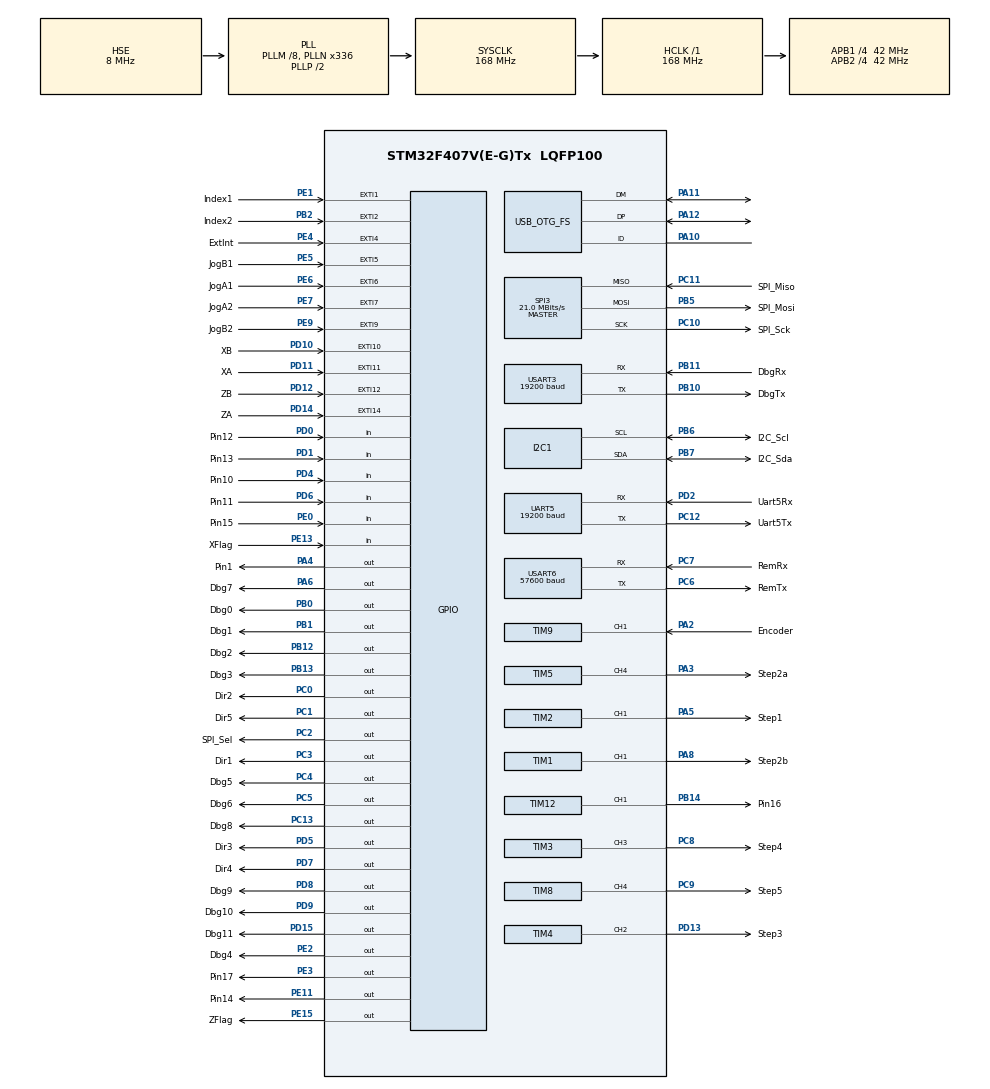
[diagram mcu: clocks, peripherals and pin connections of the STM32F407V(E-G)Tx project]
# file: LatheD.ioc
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Mcu.Family=STM32F4
Mcu.Name=STM32F407V(E-G)Tx
Mcu.Package=LQFP100
NVIC.EXTI15_10_IRQn=true\:5\:0\:true\:false\:false\:true
NVIC.EXTI2_IRQn=true\:5\:0\:true\:false\:false\:true
NVIC.EXTI4_IRQn=true\:5\:0\:true\:false\:false\:true
NVIC.EXTI9_5_IRQn=true\:5\:0\:true\:false\:false\:true
NVIC.PriorityGroup=NVIC_PRIORITYGROUP_4
NVIC.TIM1_BRK_TIM9_IRQn=true\:6\:0\:true\:false\:false\:true
NVIC.TIM1_TRG_COM_TIM11_IRQn=true\:6\:0\:true\:false\:false\:true
NVIC.TIM1_UP_TIM10_IRQn=true\:4\:0\:true\:false\:false\:true
NVIC.TIM2_IRQn=true\:3\:0\:true\:false\:false\:true
NVIC.TIM3_IRQn=true\:2\:0\:true\:false\:false\:true
NVIC.TIM4_IRQn=true\:4\:0\:true\:false\:false\:true
NVIC.TIM5_IRQn=true\:2\:0\:true\:false\:false\:true
NVIC.TIM7_IRQn=true\:5\:0\:true\:false\:false\:true
NVIC.TIM8_BRK_TIM12_IRQn=true\:5\:0\:true\:false\:false\:true
NVIC.TIM8_TRG_COM_TIM14_IRQn=true\:0\:0\:false\:false\:false\:true
NVIC.TIM8_UP_TIM13_IRQn=true\:5\:0\:true\:false\:false\:true
NVIC.USART6_IRQn=true\:6\:0\:true\:false\:false\:true
PA10.Mode=OTG/Dual_Role_Device
PA10.Signal=USB_OTG_FS_ID
PA11.Mode=OTG/Dual_Role_Device
PA11.Signal=USB_OTG_FS_DM
PA12.Mode=OTG/Dual_Role_Device
PA12.Signal=USB_OTG_FS_DP
PA13.Mode=JTAG_5_pins
PA13.Signal=SYS_JTMS-SWDIO
PA14.Mode=JTAG_5_pins
PA14.Signal=SYS_JTCK-SWCLK
PA15.Mode=JTAG_5_pins
PA15.Signal=SYS_JTDI
PA2.GPIO_Label=Encoder
PA2.Signal=S_TIM9_CH1
PA3.GPIO_Label=Step2a
PA3.Signal=S_TIM5_CH4
PA4.GPIO_Label=Pin1
PA4.Signal=GPIO_Output
PA5.GPIO_Label=Step1
PA5.Signal=S_TIM2_CH1_ETR
PA6.GPIO_Label=Dbg7
PA6.Signal=GPIO_Output
PA8.GPIO_Label=Step2b
PA8.Signal=S_TIM1_CH1
PB0.GPIO_Label=Dbg0
PB0.Signal=GPIO_Output
PB1.GPIO_Label=Dbg1
PB1.Signal=GPIO_Output
PB10.GPIO_Label=DbgTx
PB10.Mode=Asynchronous
PB10.Signal=USART3_TX
PB11.GPIO_Label=DbgRx
PB11.Mode=Asynchronous
PB11.Signal=USART3_RX
PB12.GPIO_Label=Dbg2
PB12.Signal=GPIO_Output
PB13.GPIO_Label=Dbg3
PB13.Signal=GPIO_Output
PB14.GPIO_Label=Pin16
PB14.Signal=S_TIM12_CH1
PB2.GPIO_Label=Index2
PB2.Signal=GPXTI2
PB3.Mode=JTAG_5_pins
PB3.Signal=SYS_JTDO-SWO
PB4.Mode=JTAG_5_pins
PB4.Signal=SYS_JTRST
PB5.GPIO_Label=SPI_Mosi
PB5.Mode=Full_Duplex_Master
PB5.Signal=SPI3_MOSI
PB6.GPIO_Label=I2C_Scl
PB6.Mode=I2C
PB6.Signal=I2C1_SCL
PB7.GPIO_Label=I2C_Sda
PB7.Mode=I2C
PB7.Signal=I2C1_SDA
PC0.GPIO_Label=Dir2
PC0.Signal=GPIO_Output
PC1.GPIO_Label=Dir5
PC1.Signal=GPIO_Output
PC10.GPIO_Label=SPI_Sck
PC10.Mode=Full_Duplex_Master
PC10.Signal=SPI3_SCK
PC11.GPIO_Label=SPI_Miso
PC11.Mode=Full_Duplex_Master
PC11.Signal=SPI3_MISO
PC12.GPIO_Label=Uart5Tx
PC12.Mode=Asynchronous
PC12.Signal=UART5_TX
PC13-ANTI_TAMP.GPIO_Label=Dbg8
PC13-ANTI_TAMP.Signal=GPIO_Output
PC2.GPIO_Label=SPI_Sel
PC2.Signal=GPIO_Output
PC3.GPIO_Label=Dir1
PC3.Signal=GPIO_Output
PC4.GPIO_Label=Dbg5
PC4.Signal=GPIO_Output
PC5.GPIO_Label=Dbg6
PC5.Signal=GPIO_Output
PC6.GPIO_Label=RemTx
PC6.Mode=Asynchronous
PC6.Signal=USART6_TX
PC7.GPIO_Label=RemRx
PC7.Mode=Asynchronous
PC7.Signal=USART6_RX
PC8.GPIO_Label=Step4
PC8.Signal=S_TIM3_CH3
PC9.GPIO_Label=Step5
PC9.GPIO_Speed=GPIO_SPEED_FREQ_LOW
PC9.Signal=S_TIM8_CH4
PD0.GPIO_Label=Pin12
PD0.Signal=GPIO_Input
PD1.GPIO_Label=Pin13
PD1.Signal=GPIO_Input
PD10.GPIO_Label=XB
PD10.GPIO_ModeDefaultEXTI=GPIO_MODE_IT_RISING_FALLING
PD10.Signal=GPXTI10
PD11.GPIO_Label=XA
PD11.GPIO_ModeDefaultEXTI=GPIO_MODE_IT_RISING_FALLING
PD11.Signal=GPXTI11
PD12.GPIO_Label=ZB
PD12.GPIO_ModeDefaultEXTI=GPIO_MODE_IT_RISING_FALLING
PD12.Signal=GPXTI12
PD13.GPIO_Label=Step3
PD13.Signal=S_TIM4_CH2
PD14.GPIO_Label=ZA
PD14.GPIO_ModeDefaultEXTI=GPIO_MODE_IT_RISING_FALLING
PD14.Signal=GPXTI14
PD15.GPIO_Label=Dbg11
PD15.Signal=GPIO_Output
PD2.GPIO_Label=Uart5Rx
PD2.Mode=Asynchronous
PD2.Signal=UART5_RX
PD4.GPIO_Label=Pin10
PD4.Signal=GPIO_Input
PD5.GPIO_Label=Dir3
PD5.Signal=GPIO_Output
PD6.GPIO_Label=Pin11
PD6.Signal=GPIO_Input
PD7.GPIO_Label=Dir4
PD7.Signal=GPIO_Output
PD8.GPIO_Label=Dbg9
PD8.Signal=GPIO_Output
PD9.GPIO_Label=Dbg10
PD9.Signal=GPIO_Output
PE0.GPIO_Label=Pin15
PE0.Signal=GPIO_Input
PE1.GPIO_Label=Index1
PE1.Signal=GPXTI1
PE11.GPIO_Label=Pin14
PE11.Signal=GPIO_Output
PE13.GPIO_Label=XFlag
PE13.Signal=GPIO_Input
PE15.GPIO_Label=ZFlag
PE15.Signal=GPIO_Output
PE2.GPIO_Label=Dbg4
PE2.Signal=GPIO_Output
PE3.GPIO_Label=Pin17
PE3.Signal=GPIO_Output
PE4.GPIO_Label=ExtInt
PE4.Signal=GPXTI4
PE5.GPIO_Label=JogB1
PE5.GPIO_ModeDefaultEXTI=GPIO_MODE_IT_RISING_FALLING
PE5.Signal=GPXTI5
PE6.GPIO_Label=JogA1
PE6.GPIO_ModeDefaultEXTI=GPIO_MODE_IT_RISING_FALLING
PE6.Signal=GPXTI6
PE7.GPIO_Label=JogA2
PE7.GPIO_ModeDefaultEXTI=GPIO_MODE_IT_RISING_FALLING
PE7.Signal=GPXTI7
PE9.GPIO_Label=JogB2
PE9.GPIO_ModeDefaultEXTI=GPIO_MODE_IT_RISING_FALLING
PE9.Signal=GPXTI9
PH0-OSC_IN.Mode=HSE-External-Oscillator
PH0-OSC_IN.Signal=RCC_OSC_IN
PH1-OSC_OUT.Mode=HSE-External-Oscillator
PH1-OSC_OUT.Signal=RCC_OSC_OUT
ProjectManager.HeapSize=0x400
ProjectManager.StackSize=0x200
ProjectManager.TargetToolchain=Other Toolchains (GPDSC)
RCC.48MHZClocksFreq_Value=48000000
RCC.AHBFreq_Value=168000000
RCC.APB1CLKDivider=RCC_HCLK_DIV4
RCC.APB1Freq_Value=42000000
RCC.APB1TimFreq_Value=84000000
RCC.APB2CLKDivider=RCC_HCLK_DIV4
RCC.APB2Freq_Value=42000000
RCC.APB2TimFreq_Value=84000000
RCC.CortexFreq_Value=168000000
RCC.HCLKFreq_Value=168000000
RCC.HSE_VALUE=8000000
RCC.HSI_VALUE=16000000
RCC.LSE_VALUE=32768
RCC.PLLM=8
RCC.PLLN=336
RCC.PLLQ=7
RCC.SYSCLKFreq_VALUE=168000000
RCC.SYSCLKSource=RCC_SYSCLKSOURCE_PLLCLK
RCC.VCOOutputFreq_Value=336000000
SH.S_TIM12_CH1.0=TIM12_CH1,PWM Generation1 CH1
SH.S_TIM1_CH1.0=TIM1_CH1,PWM Generation1 CH1
SH.S_TIM2_CH1_ETR.0=TIM2_CH1,PWM Generation1 CH1
SH.S_TIM3_CH3.0=TIM3_CH3,PWM Generation3 CH3
SH.S_TIM4_CH2.0=TIM4_CH2,PWM Generation2 CH2
SH.S_TIM5_CH4.0=TIM5_CH4,PWM Generation4 CH4
SH.S_TIM8_CH4.0=TIM8_CH4,PWM Generation4 CH4
SH.S_TIM9_CH1.0=TIM9_CH1,Input_Capture1_from_TI1
SPI3.CalculateBaudRate=21.0 MBits/s
SPI3.Direction=SPI_DIRECTION_2LINES
SPI3.Mode=SPI_MODE_MASTER
SPI3.VirtualType=VM_MASTER
TIM1.Channel-PWM\ Generation1\ CH1=TIM_CHANNEL_1
TIM1.CounterMode=TIM_COUNTERMODE_DOWN
TIM1.Period=65535
TIM1.Prescaler=0
TIM1.Pulse-PWM\ Generation1\ CH1=100
TIM10.Period=65535
TIM10.Prescaler=2560
TIM11.Period=10000
TIM12.Channel-PWM\ Generation1\ CH1=TIM_CHANNEL_1
TIM2.Channel-PWM\ Generation1\ CH1=TIM_CHANNEL_1
TIM2.CounterMode=TIM_COUNTERMODE_DOWN
TIM2.Period=100000
TIM2.Prescaler=0
TIM3.Channel-PWM\ Generation3\ CH3=TIM_CHANNEL_3
TIM3.CounterMode=TIM_COUNTERMODE_DOWN
TIM3.Period=10000
TIM3.TIM_MasterOutputTrigger=TIM_TRGO_UPDATE
TIM3.TIM_MasterSlaveMode=TIM_MASTERSLAVEMODE_ENABLE
TIM4.Channel-PWM\ Generation2\ CH2=TIM_CHANNEL_2
TIM4.CounterMode=TIM_COUNTERMODE_DOWN
TIM4.Period=9999
TIM4.TIM_MasterOutputTrigger=TIM_TRGO_UPDATE
TIM4.TIM_MasterSlaveMode=TIM_MASTERSLAVEMODE_DISABLE
TIM5.Channel-PWM\ Generation4\ CH4=TIM_CHANNEL_4
TIM5.CounterMode=TIM_COUNTERMODE_DOWN
TIM5.Period=100000
TIM5.Prescaler=0
TIM7.Period=10000
TIM8.Channel-PWM\ Generation4\ CH4=TIM_CHANNEL_4
TIM8.CounterMode=TIM_COUNTERMODE_DOWN
TIM8.Period=1000
TIM8.Prescaler=0
TIM8.Pulse-PWM\ Generation4\ CH4=100
TIM8.TIM_MasterOutputTrigger=TIM_TRGO_UPDATE
TIM8.TIM_MasterSlaveMode=TIM_MASTERSLAVEMODE_ENABLE
TIM9.Channel-Input_Capture1_from_TI1=TIM_CHANNEL_1
UART5.BaudRate=19200
UART5.VirtualMode=Asynchronous
USART3.BaudRate=19200
USART3.VirtualMode=VM_ASYNC
USART6.BaudRate=57600
USART6.VirtualMode=VM_ASYNC
VP_IWDG_VS_IWDG.Mode=IWDG_Activate
VP_TIM10_VS_ClockSourceINT.Mode=Enable_Timer
VP_TIM11_VS_ClockSourceINT.Mode=Enable_Timer
VP_TIM12_VS_ClockSourceINT.Mode=Internal
VP_TIM13_VS_ClockSourceINT.Mode=Enable_Timer
VP_TIM14_VS_ClockSourceINT.Mode=Enable_Timer
VP_TIM1_VS_ClockSourceINT.Mode=Internal
VP_TIM2_VS_ClockSourceINT.Mode=Internal
VP_TIM3_VS_ClockSourceINT.Mode=Internal
VP_TIM4_VS_ClockSourceINT.Mode=Internal
VP_TIM4_VS_ClockSourceITR.Mode=TriggerSource_ITR2
VP_TIM4_VS_ControllerModeTrigger.Mode=Trigger Mode
VP_TIM5_VS_ClockSourceINT.Mode=Internal
VP_TIM6_VS_ClockSourceINT.Mode=Enable_Timer
VP_TIM7_VS_ClockSourceINT.Mode=Enable_Timer
VP_TIM8_VS_ClockSourceINT.Mode=Internal
board=LatheD

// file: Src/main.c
/**
  ******************************************************************************
  * @file           : main.c
  * @brief          : Main program body
  ******************************************************************************
  ** This notice applies to any and all portions of this file
  * that are not between comment pairs USER CODE BEGIN and
  * USER CODE END. Other portions of this file, whether
  * inserted by the user or by software development tools
  * are owned by their respective copyright owners.
  *
  * COPYRIGHT(c) 2018 STMicroelectronics
  *
  * Redistribution and use in source and binary forms, with or without modification,
  * are permitted provided that the following conditions are met:
  *   1. Redistributions of source code must retain the above copyright notice,
  *      this list of conditions and the following disclaimer.
  *   2. Redistributions in binary form must reproduce the above copyright notice,
  *      this list of conditions and the following disclaimer in the documentation
  *      and/or other materials provided with the distribution.
  *   3. Neither the name of STMicroelectronics nor the names of its contributors
  *      may be used to endorse or promote products derived from this software
  *      without specific prior written permission.
  *
  * THIS SOFTWARE IS PROVIDED BY THE COPYRIGHT HOLDERS AND CONTRIBUTORS "AS IS"
  * AND ANY EXPRESS OR IMPLIED WARRANTIES, INCLUDING, BUT NOT LIMITED TO, THE
  * IMPLIED WARRANTIES OF MERCHANTABILITY AND FITNESS FOR A PARTICULAR PURPOSE ARE
  * DISCLAIMED. IN NO EVENT SHALL THE COPYRIGHT HOLDER OR CONTRIBUTORS BE LIABLE
  * FOR ANY DIRECT, INDIRECT, INCIDENTAL, SPECIAL, EXEMPLARY, OR CONSEQUENTIAL
  * DAMAGES (INCLUDING, BUT NOT LIMITED TO, PROCUREMENT OF SUBSTITUTE GOODS OR
  * SERVICES; LOSS OF USE, DATA, OR PROFITS; OR BUSINESS INTERRUPTION) HOWEVER
  * CAUSED AND ON ANY THEORY OF LIABILITY, WHETHER IN CONTRACT, STRICT LIABILITY,
  * OR TORT (INCLUDING NEGLIGENCE OR OTHERWISE) ARISING IN ANY WAY OUT OF THE USE
  * OF THIS SOFTWARE, EVEN IF ADVISED OF THE POSSIBILITY OF SUCH DAMAGE.
  *
  ******************************************************************************
  */
#include "main.h"
#include "stm32f4xx_hal.h"

I2C_HandleTypeDef hi2c1;

IWDG_HandleTypeDef hiwdg;

SPI_HandleTypeDef hspi3;

TIM_HandleTypeDef htim1;
TIM_HandleTypeDef htim2;
TIM_HandleTypeDef htim3;
TIM_HandleTypeDef htim4;
TIM_HandleTypeDef htim5;
TIM_HandleTypeDef htim6;
TIM_HandleTypeDef htim7;
TIM_HandleTypeDef htim8;
TIM_HandleTypeDef htim9;
TIM_HandleTypeDef htim10;
TIM_HandleTypeDef htim11;
TIM_HandleTypeDef htim12;
TIM_HandleTypeDef htim13;
TIM_HandleTypeDef htim14;

UART_HandleTypeDef huart5;
UART_HandleTypeDef huart3;
UART_HandleTypeDef huart6;

/* USER CODE BEGIN PV */
/* Private variables ---------------------------------------------------------*/

/* USER CODE END PV */

void SystemClock_Config(void);
static void MX_GPIO_Init(void);
static void MX_TIM1_Init(void);
static void MX_TIM2_Init(void);
static void MX_TIM3_Init(void);
static void MX_TIM4_Init(void);
static void MX_TIM5_Init(void);
static void MX_TIM8_Init(void);
static void MX_TIM12_Init(void);
static void MX_UART5_Init(void);
static void MX_TIM7_Init(void);
static void MX_TIM14_Init(void);
static void MX_TIM11_Init(void);
static void MX_TIM10_Init(void);
static void MX_SPI3_Init(void);
static void MX_TIM6_Init(void);
static void MX_USB_OTG_FS_USB_Init(void);
static void MX_TIM13_Init(void);
static void MX_I2C1_Init(void);
static void MX_USART3_UART_Init(void);
static void MX_USART6_UART_Init(void);
static void MX_TIM9_Init(void);
static void MX_IWDG_Init(void);

void HAL_TIM_MspPostInit(TIM_HandleTypeDef *htim);

/* USER CODE BEGIN PFP */
void mainLoop();

/* USER CODE END PFP */

int main(void)
{

  /* MCU Configuration----------------------------------------------------------*/

  /* Reset of all peripherals, Initializes the Flash interface and the Systick. */
  HAL_Init();

  /* Configure the system clock */
  SystemClock_Config();

  /* Initialize all configured peripherals */
  MX_GPIO_Init();
  MX_TIM1_Init();
  MX_TIM2_Init();
  MX_TIM3_Init();
  MX_TIM4_Init();
  MX_TIM5_Init();
  MX_TIM8_Init();
  MX_TIM12_Init();
  MX_UART5_Init();
  MX_TIM7_Init();
  MX_TIM14_Init();
  MX_TIM11_Init();
  MX_TIM10_Init();
  MX_SPI3_Init();
  MX_TIM6_Init();
  MX_USB_OTG_FS_USB_Init();
  MX_TIM13_Init();
  MX_I2C1_Init();
  MX_USART3_UART_Init();
  MX_USART6_UART_Init();
  MX_TIM9_Init();
  MX_IWDG_Init();
  /* USER CODE BEGIN 2 */

  mainLoop();

  /* USER CODE END 2 */

  /* Infinite loop */
  while (1)
  {

  }

}

void SystemClock_Config(void)
{

  RCC_OscInitTypeDef RCC_OscInitStruct;
  RCC_ClkInitTypeDef RCC_ClkInitStruct;

    /**Configure the main internal regulator output voltage
    */
  __HAL_RCC_PWR_CLK_ENABLE();

  __HAL_PWR_VOLTAGESCALING_CONFIG(PWR_REGULATOR_VOLTAGE_SCALE1);

    /**Initializes the CPU, AHB and APB busses clocks
    */
  RCC_OscInitStruct.OscillatorType = RCC_OSCILLATORTYPE_LSI|RCC_OSCILLATORTYPE_HSE;
  RCC_OscInitStruct.HSEState = RCC_HSE_ON;
  RCC_OscInitStruct.LSIState = RCC_LSI_ON;
  RCC_OscInitStruct.PLL.PLLState = RCC_PLL_ON;
  RCC_OscInitStruct.PLL.PLLSource = RCC_PLLSOURCE_HSE;
  RCC_OscInitStruct.PLL.PLLM = 8;
  RCC_OscInitStruct.PLL.PLLN = 336;
  RCC_OscInitStruct.PLL.PLLP = RCC_PLLP_DIV2;
  RCC_OscInitStruct.PLL.PLLQ = 7;
  if (HAL_RCC_OscConfig(&RCC_OscInitStruct) != HAL_OK)
  {
    _Error_Handler(__FILE__, __LINE__);
  }

    /**Initializes the CPU, AHB and APB busses clocks
    */
  RCC_ClkInitStruct.ClockType = RCC_CLOCKTYPE_HCLK|RCC_CLOCKTYPE_SYSCLK
                              |RCC_CLOCKTYPE_PCLK1|RCC_CLOCKTYPE_PCLK2;
  RCC_ClkInitStruct.SYSCLKSource = RCC_SYSCLKSOURCE_PLLCLK;
  RCC_ClkInitStruct.AHBCLKDivider = RCC_SYSCLK_DIV1;
  RCC_ClkInitStruct.APB1CLKDivider = RCC_HCLK_DIV4;
  RCC_ClkInitStruct.APB2CLKDivider = RCC_HCLK_DIV4;

  if (HAL_RCC_ClockConfig(&RCC_ClkInitStruct, FLASH_LATENCY_5) != HAL_OK)
  {
    _Error_Handler(__FILE__, __LINE__);
  }

    /**Configure the Systick interrupt time
    */
  HAL_SYSTICK_Config(HAL_RCC_GetHCLKFreq()/1000);

    /**Configure the Systick
    */
  HAL_SYSTICK_CLKSourceConfig(SYSTICK_CLKSOURCE_HCLK);

  /* SysTick_IRQn interrupt configuration */
  HAL_NVIC_SetPriority(SysTick_IRQn, 0, 0);
}

/* I2C1 init function */
static void MX_I2C1_Init(void)
{

  hi2c1.Instance = I2C1;
  hi2c1.Init.ClockSpeed = 100000;
  hi2c1.Init.DutyCycle = I2C_DUTYCYCLE_2;
  hi2c1.Init.OwnAddress1 = 0;
  hi2c1.Init.AddressingMode = I2C_ADDRESSINGMODE_7BIT;
  hi2c1.Init.DualAddressMode = I2C_DUALADDRESS_DISABLE;
  hi2c1.Init.OwnAddress2 = 0;
  hi2c1.Init.GeneralCallMode = I2C_GENERALCALL_DISABLE;
  hi2c1.Init.NoStretchMode = I2C_NOSTRETCH_DISABLE;
  if (HAL_I2C_Init(&hi2c1) != HAL_OK)
  {
    _Error_Handler(__FILE__, __LINE__);
  }

}

/* IWDG init function */
static void MX_IWDG_Init(void)
{

  hiwdg.Instance = IWDG;
  hiwdg.Init.Prescaler = IWDG_PRESCALER_4;
  hiwdg.Init.Reload = 4095;
  if (HAL_IWDG_Init(&hiwdg) != HAL_OK)
  {
    _Error_Handler(__FILE__, __LINE__);
  }

}

/* SPI3 init function */
static void MX_SPI3_Init(void)
{

  /* SPI3 parameter configuration*/
  hspi3.Instance = SPI3;
  hspi3.Init.Mode = SPI_MODE_MASTER;
  hspi3.Init.Direction = SPI_DIRECTION_2LINES;
  hspi3.Init.DataSize = SPI_DATASIZE_8BIT;
  hspi3.Init.CLKPolarity = SPI_POLARITY_LOW;
  hspi3.Init.CLKPhase = SPI_PHASE_1EDGE;
  hspi3.Init.NSS = SPI_NSS_SOFT;
  hspi3.Init.BaudRatePrescaler = SPI_BAUDRATEPRESCALER_2;
  hspi3.Init.FirstBit = SPI_FIRSTBIT_MSB;
  hspi3.Init.TIMode = SPI_TIMODE_DISABLE;
  hspi3.Init.CRCCalculation = SPI_CRCCALCULATION_DISABLE;
  hspi3.Init.CRCPolynomial = 10;
  if (HAL_SPI_Init(&hspi3) != HAL_OK)
  {
    _Error_Handler(__FILE__, __LINE__);
  }

}

/* TIM1 init function */
static void MX_TIM1_Init(void)
{

  TIM_ClockConfigTypeDef sClockSourceConfig;
  TIM_MasterConfigTypeDef sMasterConfig;
  TIM_OC_InitTypeDef sConfigOC;
  TIM_BreakDeadTimeConfigTypeDef sBreakDeadTimeConfig;

  htim1.Instance = TIM1;
  htim1.Init.Prescaler = 0;
  htim1.Init.CounterMode = TIM_COUNTERMODE_DOWN;
  htim1.Init.Period = 65535;
  htim1.Init.ClockDivision = TIM_CLOCKDIVISION_DIV1;
  htim1.Init.RepetitionCounter = 0;
  if (HAL_TIM_Base_Init(&htim1) != HAL_OK)
  {
    _Error_Handler(__FILE__, __LINE__);
  }

  sClockSourceConfig.ClockSource = TIM_CLOCKSOURCE_INTERNAL;
  if (HAL_TIM_ConfigClockSource(&htim1, &sClockSourceConfig) != HAL_OK)
  {
    _Error_Handler(__FILE__, __LINE__);
  }

  if (HAL_TIM_PWM_Init(&htim1) != HAL_OK)
  {
    _Error_Handler(__FILE__, __LINE__);
  }

  sMasterConfig.MasterOutputTrigger = TIM_TRGO_RESET;
  sMasterConfig.MasterSlaveMode = TIM_MASTERSLAVEMODE_DISABLE;
  if (HAL_TIMEx_MasterConfigSynchronization(&htim1, &sMasterConfig) != HAL_OK)
  {
    _Error_Handler(__FILE__, __LINE__);
  }

  sConfigOC.OCMode = TIM_OCMODE_PWM1;
  sConfigOC.Pulse = 100;
  sConfigOC.OCPolarity = TIM_OCPOLARITY_HIGH;
  sConfigOC.OCNPolarity = TIM_OCNPOLARITY_HIGH;
  sConfigOC.OCFastMode = TIM_OCFAST_DISABLE;
  sConfigOC.OCIdleState = TIM_OCIDLESTATE_RESET;
  sConfigOC.OCNIdleState = TIM_OCNIDLESTATE_RESET;
  if (HAL_TIM_PWM_ConfigChannel(&htim1, &sConfigOC, TIM_CHANNEL_1) != HAL_OK)
  {
    _Error_Handler(__FILE__, __LINE__);
  }

  sBreakDeadTimeConfig.OffStateRunMode = TIM_OSSR_DISABLE;
  sBreakDeadTimeConfig.OffStateIDLEMode = TIM_OSSI_DISABLE;
  sBreakDeadTimeConfig.LockLevel = TIM_LOCKLEVEL_OFF;
  sBreakDeadTimeConfig.DeadTime = 0;
  sBreakDeadTimeConfig.BreakState = TIM_BREAK_DISABLE;
  sBreakDeadTimeConfig.BreakPolarity = TIM_BREAKPOLARITY_HIGH;
  sBreakDeadTimeConfig.AutomaticOutput = TIM_AUTOMATICOUTPUT_DISABLE;
  if (HAL_TIMEx_ConfigBreakDeadTime(&htim1, &sBreakDeadTimeConfig) != HAL_OK)
  {
    _Error_Handler(__FILE__, __LINE__);
  }

  HAL_TIM_MspPostInit(&htim1);

}

/* TIM2 init function */
static void MX_TIM2_Init(void)
{

  TIM_ClockConfigTypeDef sClockSourceConfig;
  TIM_MasterConfigTypeDef sMasterConfig;
  TIM_OC_InitTypeDef sConfigOC;

  htim2.Instance = TIM2;
  htim2.Init.Prescaler = 0;
  htim2.Init.CounterMode = TIM_COUNTERMODE_DOWN;
  htim2.Init.Period = 100000;
  htim2.Init.ClockDivision = TIM_CLOCKDIVISION_DIV1;
  if (HAL_TIM_Base_Init(&htim2) != HAL_OK)
  {
    _Error_Handler(__FILE__, __LINE__);
  }

  sClockSourceConfig.ClockSource = TIM_CLOCKSOURCE_INTERNAL;
  if (HAL_TIM_ConfigClockSource(&htim2, &sClockSourceConfig) != HAL_OK)
  {
    _Error_Handler(__FILE__, __LINE__);
  }

  if (HAL_TIM_PWM_Init(&htim2) != HAL_OK)
  {
    _Error_Handler(__FILE__, __LINE__);
  }

  sMasterConfig.MasterOutputTrigger = TIM_TRGO_RESET;
  sMasterConfig.MasterSlaveMode = TIM_MASTERSLAVEMODE_DISABLE;
  if (HAL_TIMEx_MasterConfigSynchronization(&htim2, &sMasterConfig) != HAL_OK)
  {
    _Error_Handler(__FILE__, __LINE__);
  }

  sConfigOC.OCMode = TIM_OCMODE_PWM1;
  sConfigOC.Pulse = 0;
  sConfigOC.OCPolarity = TIM_OCPOLARITY_HIGH;
  sConfigOC.OCFastMode = TIM_OCFAST_DISABLE;
  if (HAL_TIM_PWM_ConfigChannel(&htim2, &sConfigOC, TIM_CHANNEL_1) != HAL_OK)
  {
    _Error_Handler(__FILE__, __LINE__);
  }

  HAL_TIM_MspPostInit(&htim2);

}

/* TIM3 init function */
static void MX_TIM3_Init(void)
{

  TIM_ClockConfigTypeDef sClockSourceConfig;
  TIM_MasterConfigTypeDef sMasterConfig;
  TIM_OC_InitTypeDef sConfigOC;

  htim3.Instance = TIM3;
  htim3.Init.Prescaler = 0;
  htim3.Init.CounterMode = TIM_COUNTERMODE_DOWN;
  htim3.Init.Period = 10000;
  htim3.Init.ClockDivision = TIM_CLOCKDIVISION_DIV1;
  if (HAL_TIM_Base_Init(&htim3) != HAL_OK)
  {
    _Error_Handler(__FILE__, __LINE__);
  }

  sClockSourceConfig.ClockSource = TIM_CLOCKSOURCE_INTERNAL;
  if (HAL_TIM_ConfigClockSource(&htim3, &sClockSourceConfig) != HAL_OK)
  {
    _Error_Handler(__FILE__, __LINE__);
  }

  if (HAL_TIM_PWM_Init(&htim3) != HAL_OK)
  {
    _Error_Handler(__FILE__, __LINE__);
  }

  sMasterConfig.MasterOutputTrigger = TIM_TRGO_UPDATE;
  sMasterConfig.MasterSlaveMode = TIM_MASTERSLAVEMODE_ENABLE;
  if (HAL_TIMEx_MasterConfigSynchronization(&htim3, &sMasterConfig) != HAL_OK)
  {
    _Error_Handler(__FILE__, __LINE__);
  }

  sConfigOC.OCMode = TIM_OCMODE_PWM1;
  sConfigOC.Pulse = 0;
  sConfigOC.OCPolarity = TIM_OCPOLARITY_HIGH;
  sConfigOC.OCFastMode = TIM_OCFAST_DISABLE;
  if (HAL_TIM_PWM_ConfigChannel(&htim3, &sConfigOC, TIM_CHANNEL_3) != HAL_OK)
  {
    _Error_Handler(__FILE__, __LINE__);
  }

  HAL_TIM_MspPostInit(&htim3);

}

/* TIM4 init function */
static void MX_TIM4_Init(void)
{

  TIM_ClockConfigTypeDef sClockSourceConfig;
  TIM_SlaveConfigTypeDef sSlaveConfig;
  TIM_MasterConfigTypeDef sMasterConfig;
  TIM_OC_InitTypeDef sConfigOC;

  htim4.Instance = TIM4;
  htim4.Init.Prescaler = 0;
  htim4.Init.CounterMode = TIM_COUNTERMODE_DOWN;
  htim4.Init.Period = 9999;
  htim4.Init.ClockDivision = TIM_CLOCKDIVISION_DIV1;
  if (HAL_TIM_Base_Init(&htim4) != HAL_OK)
  {
    _Error_Handler(__FILE__, __LINE__);
  }

  sClockSourceConfig.ClockSource = TIM_CLOCKSOURCE_INTERNAL;
  if (HAL_TIM_ConfigClockSource(&htim4, &sClockSourceConfig) != HAL_OK)
  {
    _Error_Handler(__FILE__, __LINE__);
  }

  if (HAL_TIM_PWM_Init(&htim4) != HAL_OK)
  {
    _Error_Handler(__FILE__, __LINE__);
  }

  sSlaveConfig.SlaveMode = TIM_SLAVEMODE_TRIGGER;
  sSlaveConfig.InputTrigger = TIM_TS_ITR2;
  if (HAL_TIM_SlaveConfigSynchronization(&htim4, &sSlaveConfig) != HAL_OK)
  {
    _Error_Handler(__FILE__, __LINE__);
  }

  sMasterConfig.MasterOutputTrigger = TIM_TRGO_UPDATE;
  sMasterConfig.MasterSlaveMode = TIM_MASTERSLAVEMODE_DISABLE;
  if (HAL_TIMEx_MasterConfigSynchronization(&htim4, &sMasterConfig) != HAL_OK)
  {
    _Error_Handler(__FILE__, __LINE__);
  }

  sConfigOC.OCMode = TIM_OCMODE_PWM1;
  sConfigOC.Pulse = 0;
  sConfigOC.OCPolarity = TIM_OCPOLARITY_HIGH;
  sConfigOC.OCFastMode = TIM_OCFAST_DISABLE;
  if (HAL_TIM_PWM_ConfigChannel(&htim4, &sConfigOC, TIM_CHANNEL_2) != HAL_OK)
  {
    _Error_Handler(__FILE__, __LINE__);
  }

  HAL_TIM_MspPostInit(&htim4);

}

/* TIM5 init function */
static void MX_TIM5_Init(void)
{

  TIM_ClockConfigTypeDef sClockSourceConfig;
  TIM_MasterConfigTypeDef sMasterConfig;
  TIM_OC_InitTypeDef sConfigOC;

  htim5.Instance = TIM5;
  htim5.Init.Prescaler = 0;
  htim5.Init.CounterMode = TIM_COUNTERMODE_DOWN;
  htim5.Init.Period = 100000;
  htim5.Init.ClockDivision = TIM_CLOCKDIVISION_DIV1;
  if (HAL_TIM_Base_Init(&htim5) != HAL_OK)
  {
    _Error_Handler(__FILE__, __LINE__);
  }

  sClockSourceConfig.ClockSource = TIM_CLOCKSOURCE_INTERNAL;
  if (HAL_TIM_ConfigClockSource(&htim5, &sClockSourceConfig) != HAL_OK)
  {
    _Error_Handler(__FILE__, __LINE__);
  }

  if (HAL_TIM_PWM_Init(&htim5) != HAL_OK)
  {
    _Error_Handler(__FILE__, __LINE__);
  }

  sMasterConfig.MasterOutputTrigger = TIM_TRGO_RESET;
  sMasterConfig.MasterSlaveMode = TIM_MASTERSLAVEMODE_DISABLE;
  if (HAL_TIMEx_MasterConfigSynchronization(&htim5, &sMasterConfig) != HAL_OK)
  {
    _Error_Handler(__FILE__, __LINE__);
  }

  sConfigOC.OCMode = TIM_OCMODE_PWM1;
  sConfigOC.Pulse = 0;
  sConfigOC.OCPolarity = TIM_OCPOLARITY_HIGH;
  sConfigOC.OCFastMode = TIM_OCFAST_DISABLE;
  if (HAL_TIM_PWM_ConfigChannel(&htim5, &sConfigOC, TIM_CHANNEL_4) != HAL_OK)
  {
    _Error_Handler(__FILE__, __LINE__);
  }

  HAL_TIM_MspPostInit(&htim5);

}

/* TIM6 init function */
static void MX_TIM6_Init(void)
{

  TIM_MasterConfigTypeDef sMasterConfig;

  htim6.Instance = TIM6;
  htim6.Init.Prescaler = 0;
  htim6.Init.CounterMode = TIM_COUNTERMODE_UP;
  htim6.Init.Period = 0;
  if (HAL_TIM_Base_Init(&htim6) != HAL_OK)
  {
    _Error_Handler(__FILE__, __LINE__);
  }

  sMasterConfig.MasterOutputTrigger = TIM_TRGO_RESET;
  sMasterConfig.MasterSlaveMode = TIM_MASTERSLAVEMODE_DISABLE;
  if (HAL_TIMEx_MasterConfigSynchronization(&htim6, &sMasterConfig) != HAL_OK)
  {
    _Error_Handler(__FILE__, __LINE__);
  }

}

/* TIM7 init function */
static void MX_TIM7_Init(void)
{

  TIM_MasterConfigTypeDef sMasterConfig;

  htim7.Instance = TIM7;
  htim7.Init.Prescaler = 0;
  htim7.Init.CounterMode = TIM_COUNTERMODE_UP;
  htim7.Init.Period = 10000;
  if (HAL_TIM_Base_Init(&htim7) != HAL_OK)
  {
    _Error_Handler(__FILE__, __LINE__);
  }

  sMasterConfig.MasterOutputTrigger = TIM_TRGO_RESET;
  sMasterConfig.MasterSlaveMode = TIM_MASTERSLAVEMODE_DISABLE;
  if (HAL_TIMEx_MasterConfigSynchronization(&htim7, &sMasterConfig) != HAL_OK)
  {
    _Error_Handler(__FILE__, __LINE__);
  }

}

/* TIM8 init function */
static void MX_TIM8_Init(void)
{

  TIM_ClockConfigTypeDef sClockSourceConfig;
  TIM_MasterConfigTypeDef sMasterConfig;
  TIM_OC_InitTypeDef sConfigOC;
  TIM_BreakDeadTimeConfigTypeDef sBreakDeadTimeConfig;

  htim8.Instance = TIM8;
  htim8.Init.Prescaler = 0;
  htim8.Init.CounterMode = TIM_COUNTERMODE_DOWN;
  htim8.Init.Period = 1000;
  htim8.Init.ClockDivision = TIM_CLOCKDIVISION_DIV1;
  htim8.Init.RepetitionCounter = 0;
  if (HAL_TIM_Base_Init(&htim8) != HAL_OK)
  {
    _Error_Handler(__FILE__, __LINE__);
  }

  sClockSourceConfig.ClockSource = TIM_CLOCKSOURCE_INTERNAL;
  if (HAL_TIM_ConfigClockSource(&htim8, &sClockSourceConfig) != HAL_OK)
  {
    _Error_Handler(__FILE__, __LINE__);
  }

  if (HAL_TIM_PWM_Init(&htim8) != HAL_OK)
  {
    _Error_Handler(__FILE__, __LINE__);
  }

  sMasterConfig.MasterOutputTrigger = TIM_TRGO_UPDATE;
  sMasterConfig.MasterSlaveMode = TIM_MASTERSLAVEMODE_ENABLE;
  if (HAL_TIMEx_MasterConfigSynchronization(&htim8, &sMasterConfig) != HAL_OK)
  {
    _Error_Handler(__FILE__, __LINE__);
  }

  sConfigOC.OCMode = TIM_OCMODE_PWM1;
  sConfigOC.Pulse = 100;
  sConfigOC.OCPolarity = TIM_OCPOLARITY_HIGH;
  sConfigOC.OCFastMode = TIM_OCFAST_DISABLE;
  sConfigOC.OCIdleState = TIM_OCIDLESTATE_RESET;
  sConfigOC.OCNIdleState = TIM_OCNIDLESTATE_RESET;
  if (HAL_TIM_PWM_ConfigChannel(&htim8, &sConfigOC, TIM_CHANNEL_4) != HAL_OK)
  {
    _Error_Handler(__FILE__, __LINE__);
  }

  sBreakDeadTimeConfig.OffStateRunMode = TIM_OSSR_DISABLE;
  sBreakDeadTimeConfig.OffStateIDLEMode = TIM_OSSI_DISABLE;
  sBreakDeadTimeConfig.LockLevel = TIM_LOCKLEVEL_OFF;
  sBreakDeadTimeConfig.DeadTime = 0;
  sBreakDeadTimeConfig.BreakState = TIM_BREAK_DISABLE;
  sBreakDeadTimeConfig.BreakPolarity = TIM_BREAKPOLARITY_HIGH;
  sBreakDeadTimeConfig.AutomaticOutput = TIM_AUTOMATICOUTPUT_DISABLE;
  if (HAL_TIMEx_ConfigBreakDeadTime(&htim8, &sBreakDeadTimeConfig) != HAL_OK)
  {
    _Error_Handler(__FILE__, __LINE__);
  }

  HAL_TIM_MspPostInit(&htim8);

}

/* TIM9 init function */
static void MX_TIM9_Init(void)
{

  TIM_IC_InitTypeDef sConfigIC;

  htim9.Instance = TIM9;
  htim9.Init.Prescaler = 0;
  htim9.Init.CounterMode = TIM_COUNTERMODE_UP;
  htim9.Init.Period = 0;
  htim9.Init.ClockDivision = TIM_CLOCKDIVISION_DIV1;
  if (HAL_TIM_IC_Init(&htim9) != HAL_OK)
  {
    _Error_Handler(__FILE__, __LINE__);
  }

  sConfigIC.ICPolarity = TIM_INPUTCHANNELPOLARITY_RISING;
  sConfigIC.ICSelection = TIM_ICSELECTION_DIRECTTI;
  sConfigIC.ICPrescaler = TIM_ICPSC_DIV1;
  sConfigIC.ICFilter = 0;
  if (HAL_TIM_IC_ConfigChannel(&htim9, &sConfigIC, TIM_CHANNEL_1) != HAL_OK)
  {
    _Error_Handler(__FILE__, __LINE__);
  }

}

/* TIM10 init function */
static void MX_TIM10_Init(void)
{

  htim10.Instance = TIM10;
  htim10.Init.Prescaler = 2560;
  htim10.Init.CounterMode = TIM_COUNTERMODE_UP;
  htim10.Init.Period = 65535;
  htim10.Init.ClockDivision = TIM_CLOCKDIVISION_DIV1;
  if (HAL_TIM_Base_Init(&htim10) != HAL_OK)
  {
    _Error_Handler(__FILE__, __LINE__);
  }

}

/* TIM11 init function */
static void MX_TIM11_Init(void)
{

  htim11.Instance = TIM11;
  htim11.Init.Prescaler = 0;
  htim11.Init.CounterMode = TIM_COUNTERMODE_UP;
  htim11.Init.Period = 10000;
  htim11.Init.ClockDivision = TIM_CLOCKDIVISION_DIV1;
  if (HAL_TIM_Base_Init(&htim11) != HAL_OK)
  {
    _Error_Handler(__FILE__, __LINE__);
  }

}

/* TIM12 init function */
static void MX_TIM12_Init(void)
{

  TIM_ClockConfigTypeDef sClockSourceConfig;
  TIM_OC_InitTypeDef sConfigOC;

  htim12.Instance = TIM12;
  htim12.Init.Prescaler = 0;
  htim12.Init.CounterMode = TIM_COUNTERMODE_UP;
  htim12.Init.Period = 0;
  htim12.Init.ClockDivision = TIM_CLOCKDIVISION_DIV1;
  if (HAL_TIM_Base_Init(&htim12) != HAL_OK)
  {
    _Error_Handler(__FILE__, __LINE__);
  }

  sClockSourceConfig.ClockSource = TIM_CLOCKSOURCE_INTERNAL;
  if (HAL_TIM_ConfigClockSource(&htim12, &sClockSourceConfig) != HAL_OK)
  {
    _Error_Handler(__FILE__, __LINE__);
  }

  if (HAL_TIM_PWM_Init(&htim12) != HAL_OK)
  {
    _Error_Handler(__FILE__, __LINE__);
  }

  sConfigOC.OCMode = TIM_OCMODE_PWM1;
  sConfigOC.Pulse = 0;
  sConfigOC.OCPolarity = TIM_OCPOLARITY_HIGH;
  sConfigOC.OCFastMode = TIM_OCFAST_DISABLE;
  if (HAL_TIM_PWM_ConfigChannel(&htim12, &sConfigOC, TIM_CHANNEL_1) != HAL_OK)
  {
    _Error_Handler(__FILE__, __LINE__);
  }

  HAL_TIM_MspPostInit(&htim12);

}

/* TIM13 init function */
static void MX_TIM13_Init(void)
{

  htim13.Instance = TIM13;
  htim13.Init.Prescaler = 0;
  htim13.Init.CounterMode = TIM_COUNTERMODE_UP;
  htim13.Init.Period = 0;
  htim13.Init.ClockDivision = TIM_CLOCKDIVISION_DIV1;
  if (HAL_TIM_Base_Init(&htim13) != HAL_OK)
  {
    _Error_Handler(__FILE__, __LINE__);
  }

}

/* TIM14 init function */
static void MX_TIM14_Init(void)
{

  htim14.Instance = TIM14;
  htim14.Init.Prescaler = 0;
  htim14.Init.CounterMode = TIM_COUNTERMODE_UP;
  htim14.Init.Period = 0;
  htim14.Init.ClockDivision = TIM_CLOCKDIVISION_DIV1;
  if (HAL_TIM_Base_Init(&htim14) != HAL_OK)
  {
    _Error_Handler(__FILE__, __LINE__);
  }

}

/* UART5 init function */
static void MX_UART5_Init(void)
{

  huart5.Instance = UART5;
  huart5.Init.BaudRate = 19200;
  huart5.Init.WordLength = UART_WORDLENGTH_8B;
  huart5.Init.StopBits = UART_STOPBITS_1;
  huart5.Init.Parity = UART_PARITY_NONE;
  huart5.Init.Mode = UART_MODE_TX_RX;
  huart5.Init.HwFlowCtl = UART_HWCONTROL_NONE;
  huart5.Init.OverSampling = UART_OVERSAMPLING_16;
  if (HAL_UART_Init(&huart5) != HAL_OK)
  {
    _Error_Handler(__FILE__, __LINE__);
  }

}

/* USART3 init function */
static void MX_USART3_UART_Init(void)
{

  huart3.Instance = USART3;
  huart3.Init.BaudRate = 19200;
  huart3.Init.WordLength = UART_WORDLENGTH_8B;
  huart3.Init.StopBits = UART_STOPBITS_1;
  huart3.Init.Parity = UART_PARITY_NONE;
  huart3.Init.Mode = UART_MODE_TX_RX;
  huart3.Init.HwFlowCtl = UART_HWCONTROL_NONE;
  huart3.Init.OverSampling = UART_OVERSAMPLING_16;
  if (HAL_UART_Init(&huart3) != HAL_OK)
  {
    _Error_Handler(__FILE__, __LINE__);
  }

}

/* USART6 init function */
static void MX_USART6_UART_Init(void)
{

  huart6.Instance = USART6;
  huart6.Init.BaudRate = 57600;
  huart6.Init.WordLength = UART_WORDLENGTH_8B;
  huart6.Init.StopBits = UART_STOPBITS_1;
  huart6.Init.Parity = UART_PARITY_NONE;
  huart6.Init.Mode = UART_MODE_TX_RX;
  huart6.Init.HwFlowCtl = UART_HWCONTROL_NONE;
  huart6.Init.OverSampling = UART_OVERSAMPLING_16;
  if (HAL_UART_Init(&huart6) != HAL_OK)
  {
    _Error_Handler(__FILE__, __LINE__);
  }

}

/* USB_OTG_FS init function */
static void MX_USB_OTG_FS_USB_Init(void)
{

}

/** Configure pins as
        * Analog
        * Input
        * Output
        * EVENT_OUT
        * EXTI
     PA10   ------> USB_OTG_FS_ID
     PA11   ------> USB_OTG_FS_DM
     PA12   ------> USB_OTG_FS_DP
*/
static void MX_GPIO_Init(void)
{

  GPIO_InitTypeDef GPIO_InitStruct;

  /* GPIO Ports Clock Enable */
  __HAL_RCC_GPIOE_CLK_ENABLE();
  __HAL_RCC_GPIOC_CLK_ENABLE();
  __HAL_RCC_GPIOH_CLK_ENABLE();
  __HAL_RCC_GPIOA_CLK_ENABLE();
  __HAL_RCC_GPIOB_CLK_ENABLE();
  __HAL_RCC_GPIOD_CLK_ENABLE();

  /*Configure GPIO pin Output Level */
  HAL_GPIO_WritePin(GPIOE, Dbg4_Pin|Pin17_Pin|Pin14_Pin|ZFlag_Pin, GPIO_PIN_RESET);

  /*Configure GPIO pin Output Level */
  HAL_GPIO_WritePin(GPIOC, Dbg8_Pin|Dir2_Pin|Dir5_Pin|SPI_Sel_Pin
                          |Dir1_Pin|Dbg5_Pin|Dbg6_Pin, GPIO_PIN_RESET);

  /*Configure GPIO pin Output Level */
  HAL_GPIO_WritePin(GPIOA, Pin1_Pin|Dbg7_Pin, GPIO_PIN_RESET);

  /*Configure GPIO pin Output Level */
  HAL_GPIO_WritePin(GPIOB, Dbg0_Pin|Dbg1_Pin|Dbg2_Pin|Dbg3_Pin, GPIO_PIN_RESET);

  /*Configure GPIO pin Output Level */
  HAL_GPIO_WritePin(GPIOD, Dbg9_Pin|Dbg10_Pin|Dbg11_Pin|Dir3_Pin
                          |Dir4_Pin, GPIO_PIN_RESET);

  /*Configure GPIO pins : Dbg4_Pin Pin17_Pin Pin14_Pin ZFlag_Pin */
  GPIO_InitStruct.Pin = Dbg4_Pin|Pin17_Pin|Pin14_Pin|ZFlag_Pin;
  GPIO_InitStruct.Mode = GPIO_MODE_OUTPUT_PP;
  GPIO_InitStruct.Pull = GPIO_NOPULL;
  GPIO_InitStruct.Speed = GPIO_SPEED_FREQ_LOW;
  HAL_GPIO_Init(GPIOE, &GPIO_InitStruct);

  /*Configure GPIO pins : ExtInt_Pin Index1_Pin */
  GPIO_InitStruct.Pin = ExtInt_Pin|Index1_Pin;
  GPIO_InitStruct.Mode = GPIO_MODE_IT_RISING;
  GPIO_InitStruct.Pull = GPIO_NOPULL;
  HAL_GPIO_Init(GPIOE, &GPIO_InitStruct);

  /*Configure GPIO pins : JogB1_Pin JogA1_Pin JogA2_Pin JogB2_Pin */
  GPIO_InitStruct.Pin = JogB1_Pin|JogA1_Pin|JogA2_Pin|JogB2_Pin;
  GPIO_InitStruct.Mode = GPIO_MODE_IT_RISING_FALLING;
  GPIO_InitStruct.Pull = GPIO_NOPULL;
  HAL_GPIO_Init(GPIOE, &GPIO_InitStruct);

  /*Configure GPIO pins : Dbg8_Pin Dir2_Pin Dir5_Pin SPI_Sel_Pin
                           Dir1_Pin Dbg5_Pin Dbg6_Pin */
  GPIO_InitStruct.Pin = Dbg8_Pin|Dir2_Pin|Dir5_Pin|SPI_Sel_Pin
                          |Dir1_Pin|Dbg5_Pin|Dbg6_Pin;
  GPIO_InitStruct.Mode = GPIO_MODE_OUTPUT_PP;
  GPIO_InitStruct.Pull = GPIO_NOPULL;
  GPIO_InitStruct.Speed = GPIO_SPEED_FREQ_LOW;
  HAL_GPIO_Init(GPIOC, &GPIO_InitStruct);

  /*Configure GPIO pins : Pin1_Pin Dbg7_Pin */
  GPIO_InitStruct.Pin = Pin1_Pin|Dbg7_Pin;
  GPIO_InitStruct.Mode = GPIO_MODE_OUTPUT_PP;
  GPIO_InitStruct.Pull = GPIO_NOPULL;
  GPIO_InitStruct.Speed = GPIO_SPEED_FREQ_LOW;
  HAL_GPIO_Init(GPIOA, &GPIO_InitStruct);

  /*Configure GPIO pins : Dbg0_Pin Dbg1_Pin Dbg2_Pin Dbg3_Pin */
  GPIO_InitStruct.Pin = Dbg0_Pin|Dbg1_Pin|Dbg2_Pin|Dbg3_Pin;
  GPIO_InitStruct.Mode = GPIO_MODE_OUTPUT_PP;
  GPIO_InitStruct.Pull = GPIO_NOPULL;
  GPIO_InitStruct.Speed = GPIO_SPEED_FREQ_LOW;
  HAL_GPIO_Init(GPIOB, &GPIO_InitStruct);

  /*Configure GPIO pin : Index2_Pin */
  GPIO_InitStruct.Pin = Index2_Pin;
  GPIO_InitStruct.Mode = GPIO_MODE_IT_RISING;
  GPIO_InitStruct.Pull = GPIO_NOPULL;
  HAL_GPIO_Init(Index2_GPIO_Port, &GPIO_InitStruct);

  /*Configure GPIO pins : XFlag_Pin Pin15_Pin */
  GPIO_InitStruct.Pin = XFlag_Pin|Pin15_Pin;
  GPIO_InitStruct.Mode = GPIO_MODE_INPUT;
  GPIO_InitStruct.Pull = GPIO_NOPULL;
  HAL_GPIO_Init(GPIOE, &GPIO_InitStruct);

  /*Configure GPIO pins : Dbg9_Pin Dbg10_Pin Dbg11_Pin Dir3_Pin
                           Dir4_Pin */
  GPIO_InitStruct.Pin = Dbg9_Pin|Dbg10_Pin|Dbg11_Pin|Dir3_Pin
                          |Dir4_Pin;
  GPIO_InitStruct.Mode = GPIO_MODE_OUTPUT_PP;
  GPIO_InitStruct.Pull = GPIO_NOPULL;
  GPIO_InitStruct.Speed = GPIO_SPEED_FREQ_LOW;
  HAL_GPIO_Init(GPIOD, &GPIO_InitStruct);

  /*Configure GPIO pins : XB_Pin XA_Pin ZB_Pin ZA_Pin */
  GPIO_InitStruct.Pin = XB_Pin|XA_Pin|ZB_Pin|ZA_Pin;
  GPIO_InitStruct.Mode = GPIO_MODE_IT_RISING_FALLING;
  GPIO_InitStruct.Pull = GPIO_NOPULL;
  HAL_GPIO_Init(GPIOD, &GPIO_InitStruct);

  /*Configure GPIO pins : PA10 PA11 PA12 */
  GPIO_InitStruct.Pin = GPIO_PIN_10|GPIO_PIN_11|GPIO_PIN_12;
  GPIO_InitStruct.Mode = GPIO_MODE_AF_PP;
  GPIO_InitStruct.Pull = GPIO_NOPULL;
  GPIO_InitStruct.Speed = GPIO_SPEED_FREQ_VERY_HIGH;
  GPIO_InitStruct.Alternate = GPIO_AF10_OTG_FS;
  HAL_GPIO_Init(GPIOA, &GPIO_InitStruct);

  /*Configure GPIO pins : Pin12_Pin Pin13_Pin Pin10_Pin Pin11_Pin */
  GPIO_InitStruct.Pin = Pin12_Pin|Pin13_Pin|Pin10_Pin|Pin11_Pin;
  GPIO_InitStruct.Mode = GPIO_MODE_INPUT;
  GPIO_InitStruct.Pull = GPIO_NOPULL;
  HAL_GPIO_Init(GPIOD, &GPIO_InitStruct);

  /* EXTI interrupt init*/
  HAL_NVIC_SetPriority(EXTI2_IRQn, 5, 0);
  HAL_NVIC_EnableIRQ(EXTI2_IRQn);

  HAL_NVIC_SetPriority(EXTI4_IRQn, 5, 0);
  HAL_NVIC_EnableIRQ(EXTI4_IRQn);

  HAL_NVIC_SetPriority(EXTI9_5_IRQn, 5, 0);
  HAL_NVIC_EnableIRQ(EXTI9_5_IRQn);

  HAL_NVIC_SetPriority(EXTI15_10_IRQn, 5, 0);
  HAL_NVIC_EnableIRQ(EXTI15_10_IRQn);

}

/* USER CODE BEGIN 4 */

ssize_t _write (int fd, const char* buf, size_t nbyte);

void _init()
{
}

caddr_t _sbrk(int incr)
{
 extern char _end;		/* Defined by the linker */
 static char *heap_end;
 char *prev_heap_end;
 char *sp = (char *)&sp;

 if (heap_end == 0)
 {
  heap_end = &_end;
 }
 prev_heap_end = heap_end;
 heap_end += incr;
 if (heap_end > sp)
 {
  _write (1, "Heap and stack collision\n", 25);
//  errno = ENOMEM;
  return (caddr_t)-1;
 }
 return (caddr_t) prev_heap_end;
}

void _close()
{
}

int _fstat()
{
 return(0);
}

int _isatty()
{
 return(1);
}

void _lseek()
{
}

void _read()
{
}

/* USER CODE END 4 */

void _Error_Handler(char *file, int line)
{
  while(1)
  {
  }
}

/************************ (C) COPYRIGHT STMicroelectronics *****END OF FILE****/
